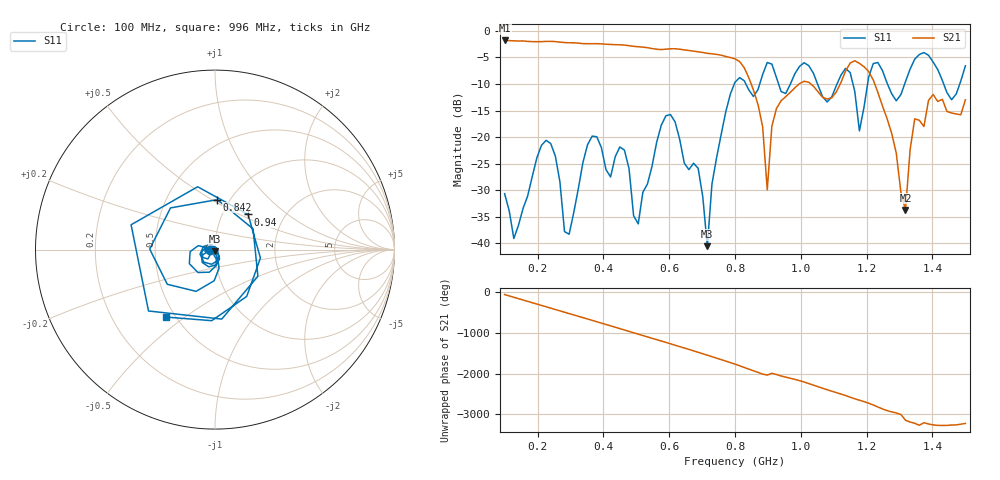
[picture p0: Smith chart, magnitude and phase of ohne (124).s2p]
! NanoVNA-App
! Date: 2025-09-25 14:21:46
! Start: 100MHz Stop: 1,5GHz Points: 101
! S-Parameter data: F S11 S21 S12 S22
# Hz S RI R 50
!  Frequency  S11_Real  S11_Imag  S21_Real  S21_Imag  S12_Real  S12_Imag  S22_Real  S22_Imag
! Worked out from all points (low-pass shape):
!   101 points, 100 MHz to 1.5 GHz, reference 50 ohm
!   highest |S21| = -1.79 dB at 100 MHz (marker M1); lowest = -33.7 dB at 1.318 GHz (marker M2)
!   |S21| within 3 dB of the highest: start of sweep to 771.3 MHz
!   lowest |S11| = -40.5 dB at 716 MHz (marker M3), VSWR 1.02, Z = 49.9 - j0.929 ohm
!   |S11| at or under -10 dB: start of sweep to 797.9 MHz; 833.1 MHz to 875 MHz (41.99 MHz wide, 4.92 % of centre); 1.051 GHz to 1.11 GHz (59.11 MHz wide, 5.47 % of centre) (the widest 3 of 7)
!   S12 and S22 are empty: the file has one direction only
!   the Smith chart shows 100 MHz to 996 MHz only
!   S11 on the Smith chart (normalised r, x): 100 MHz: 0.94, -0.01; 842 MHz: 0.88, +0.53; 940 MHz: 1.32, +0.56; 996 MHz: 0.45, -0.43
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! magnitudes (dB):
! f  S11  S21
! 100 MHz  -30.6  -1.8
! 128 MHz  -39.1  -1.9
! 226 MHz  -20.6  -2.0
! 296 MHz  -38.3  -2.2
! 338 MHz  -24.8  -2.4
! 464 MHz  -22.4  -2.7
! 506 MHz  -36.3  -3.0
! 576 MHz  -17.7  -3.5
! 688 MHz  -25.9  -3.9
! 716 MHz  -40.5  -4.2
! 800 MHz  -9.7  -5.3
! 842 MHz  -11.1  -8.8
! 898 MHz  -5.9  -29.9
! 940 MHz  -11.4  -13.2
! 996 MHz  -6.7  -9.9
! 1.038 GHz  -7.9  -10.4
! 1.178 GHz  -18.8  -6.1
! 1.22 GHz  -6.1  -9.2
! 1.276 GHz  -11.8  -19.3
! 1.318 GHz  -9.5  -33.7
! 1.346 GHz  -5.3  -16.5
! 1.5 GHz  -6.6  -13.0
